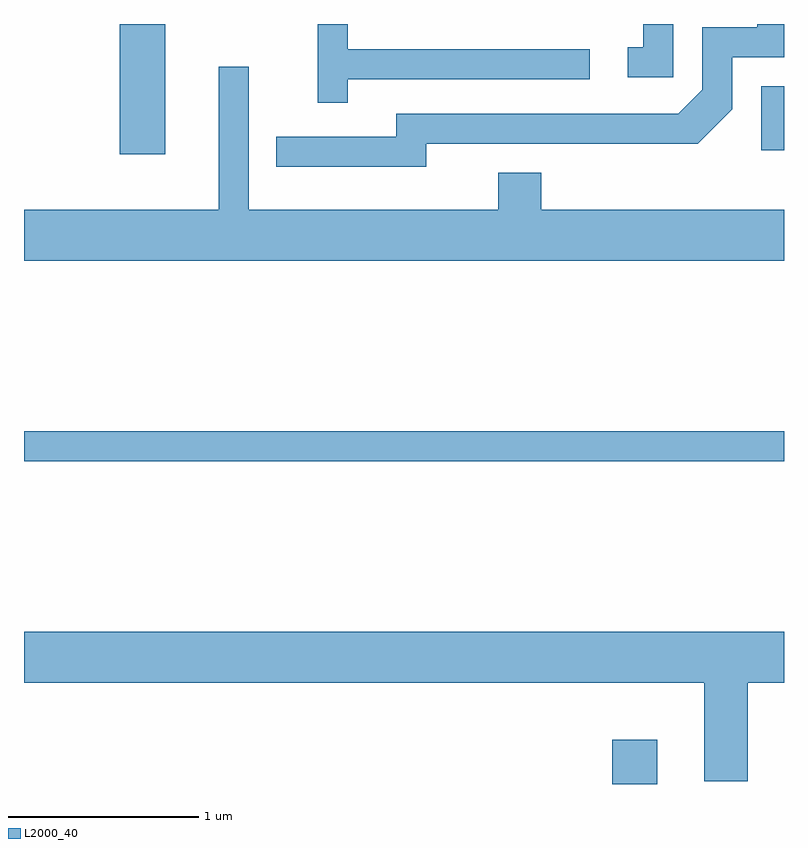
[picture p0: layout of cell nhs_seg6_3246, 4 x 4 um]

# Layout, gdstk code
import gdstk
lib = gdstk.Library(unit=1e-6, precision=1e-09)
def R(c, l, rs):  # rectangles x0, y0, x1, y1
    for r in rs: c.add(gdstk.rectangle(r[:2], r[2:], *l))
def P(c, l, *ps):  # polygons
    for p in ps: c.add(gdstk.Polygon(p, *l))
L2000_40 = (2000, 40)

nhs_seg6_3246 = lib.new_cell('nhs_seg6_3246')
R(nhs_seg6_3246, L2000_40, [(286.706,1556.162,286.944,1556.394), (283.611,1557.861,287.611,1558.019), (284.116,1559.476,284.354,1560.162), (287.491,1559.498,287.611,1559.834)])
P(nhs_seg6_3246, L2000_40, [(285.729,1559.531),(287.157,1559.531),(287.339,1559.714),(287.339,1559.986),(287.611,1559.986),(287.611,1560.162),(287.471,1560.162),(287.471,1560.144),(287.181,1560.144),(287.181,1559.817),(287.054,1559.689),(285.571,1559.689),(285.571,1559.569),(284.938,1559.569),(284.938,1559.411),(285.729,1559.411)],
  [(287.029,1560.162),(286.871,1560.162),(286.871,1560.039),(286.788,1560.039),(286.788,1559.881),(287.029,1559.881)],
  [(285.314,1559.871),(286.588,1559.871),(286.588,1560.029),(285.314,1560.029),(285.314,1560.162),(285.156,1560.162),(285.156,1559.748),(285.314,1559.748)],
  [(287.611,1559.184),(286.334,1559.184),(286.334,1559.379),(286.106,1559.379),(286.106,1559.184),(284.794,1559.184),(284.794,1559.938),(284.636,1559.938),(284.636,1559.184),(283.611,1559.184),(283.611,1558.916),(287.611,1558.916)],
  [(287.419,1556.696),(287.611,1556.696),(287.611,1556.964),(283.611,1556.964),(283.611,1556.696),(287.191,1556.696),(287.191,1556.176),(287.419,1556.176)])

lib.write_gds('nhs_seg6_3246.gds')
